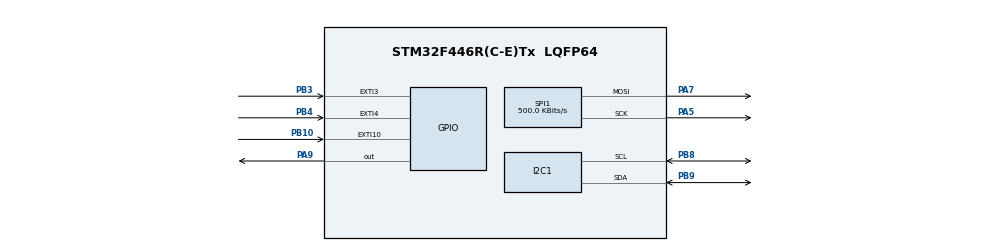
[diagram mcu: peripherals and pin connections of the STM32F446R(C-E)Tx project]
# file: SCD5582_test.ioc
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Mcu.Family=STM32F4
Mcu.Name=STM32F446R(C-E)Tx
Mcu.Package=LQFP64
NVIC.EXTI15_10_IRQn=true\:3\:0\:true\:false\:true\:true\:true\:true
NVIC.EXTI3_IRQn=true\:3\:0\:true\:false\:true\:true\:true\:true
NVIC.EXTI4_IRQn=true\:3\:0\:true\:false\:true\:true\:true\:true
NVIC.PriorityGroup=NVIC_PRIORITYGROUP_4
NVIC.TIM7_IRQn=true\:3\:0\:true\:false\:true\:true\:true\:true
PA5.Mode=TX_Only_Simplex_Unidirect_Master
PA5.Signal=SPI1_SCK
PA7.Mode=TX_Only_Simplex_Unidirect_Master
PA7.Signal=SPI1_MOSI
PA9.Signal=GPIO_Output
PB10.GPIO_ModeDefaultEXTI=GPIO_MODE_IT_FALLING
PB10.GPIO_PuPd=GPIO_PULLUP
PB10.Signal=GPXTI10
PB3.GPIO_ModeDefaultEXTI=GPIO_MODE_IT_FALLING
PB3.GPIO_PuPd=GPIO_PULLUP
PB3.Signal=GPXTI3
PB4.GPIO_ModeDefaultEXTI=GPIO_MODE_IT_FALLING
PB4.GPIO_PuPd=GPIO_PULLUP
PB4.Signal=GPXTI4
PB8.Mode=I2C
PB8.Signal=I2C1_SCL
PB9.Mode=I2C
PB9.Signal=I2C1_SDA
ProjectManager.HeapSize=0x200
ProjectManager.StackSize=0x400
ProjectManager.TargetToolchain=STM32CubeIDE
RCC.CortexFreq_Value=16000000
RCC.USBFreq_Value=96000000
RCC.VCOOutputFreq_Value=192000000
SPI1.BaudRatePrescaler=SPI_BAUDRATEPRESCALER_32
SPI1.CalculateBaudRate=500.0 KBits/s
SPI1.Direction=SPI_DIRECTION_2LINES
SPI1.FirstBit=SPI_FIRSTBIT_LSB
SPI1.Mode=SPI_MODE_MASTER
SPI1.VirtualType=VM_MASTER
TIM6.Period=19999
TIM6.Prescaler=15999
TIM7.Period=249
TIM7.Prescaler=15999
VP_TIM6_VS_ClockSourceINT.Mode=Enable_Timer
VP_TIM7_VS_ClockSourceINT.Mode=Enable_Timer
board=custom

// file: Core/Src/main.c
/* USER CODE BEGIN Header */
/**
  ******************************************************************************
  * @file           : main.c
  * @brief          : Main program body
  ******************************************************************************
  * @attention
  *
  * Copyright (c) 2023 STMicroelectronics.
  * All rights reserved.
  *
  * This software is licensed under terms that can be found in the LICENSE file
  * in the root directory of this software component.
  * If no LICENSE file comes with this software, it is provided AS-IS.
  *
  ******************************************************************************
  */
/* USER CODE END Header */
#include "main.h"
#include "i2c.h"
#include "spi.h"
#include "tim.h"
#include "gpio.h"

/* USER CODE BEGIN Includes */
#include "font5x5.h"

/* USER CODE END Includes */

void SystemClock_Config(void);

/* USER CODE BEGIN 0 */

#define DS1307_ADDRESS 0x68 << 1

extern uint8_t menuCounter;
extern uint8_t b1Counter;
extern uint8_t b2Counter;

void clearDisplay(){
	uint8_t clear = 0xC0;
	HAL_GPIO_WritePin(GPIOA, GPIO_PIN_9, GPIO_PIN_RESET);
	HAL_SPI_Transmit(&hspi1, (uint8_t*)&clear, 1, 1);
	HAL_GPIO_WritePin(GPIOA, GPIO_PIN_9, GPIO_PIN_SET);
}

void writeCharacter(uint8_t digit, char character){
	if(digit < 0 || digit >7){
		return;
	}
	uint8_t adress = 0b10100000 + digit;
	HAL_GPIO_WritePin(GPIOA, GPIO_PIN_9, GPIO_PIN_RESET);
	HAL_SPI_Transmit(&hspi1, (uint8_t*)&adress, 1, 1);
	HAL_GPIO_WritePin(GPIOA, GPIO_PIN_9, GPIO_PIN_SET);

	for(int row = 0; row <5; row++){
		HAL_GPIO_WritePin(GPIOA, GPIO_PIN_9, GPIO_PIN_RESET);
		HAL_SPI_Transmit(&hspi1, (uint8_t*)&font[character - 0x20][row], 1, 1);
		HAL_GPIO_WritePin(GPIOA, GPIO_PIN_9, GPIO_PIN_SET);
	}
}

typedef struct{
	uint8_t seconds;
	uint8_t minutes;
	uint8_t hour;
	uint8_t dayofweek;
	uint8_t dayofmonth;
	uint8_t month;
	uint8_t year;
}TIME;

TIME time;

uint8_t decToBcd(int val){
	return (uint8_t)( (val/10*16) + (val%10) );
}

int bcdToDec(uint8_t val){
	return (int)( (val/16*10) + (val%16) );
}

void Set_Time (uint8_t sec, uint8_t min, uint8_t hour, uint8_t dow, uint8_t dom, uint8_t month, uint8_t year){
	uint8_t set_time[7];
	set_time[0] = decToBcd(sec);
	set_time[1] = decToBcd(min);
	set_time[2] = decToBcd(hour);
	set_time[3] = decToBcd(dow);
	set_time[4] = decToBcd(dom);
	set_time[5] = decToBcd(month);
	set_time[6] = decToBcd(year);

	HAL_I2C_Mem_Write(&hi2c1, DS1307_ADDRESS, 0x00, 1, set_time, 7, 1);
}

void Get_Time (void)
{
	uint8_t get_time[7];
	HAL_I2C_Mem_Read(&hi2c1, DS1307_ADDRESS, 0x00, 1, get_time, 7, 1);
	time.seconds = bcdToDec(get_time[0]);
	time.minutes = bcdToDec(get_time[1]);
	time.hour = bcdToDec(get_time[2]);
	time.dayofweek = bcdToDec(get_time[3]);
	time.dayofmonth = bcdToDec(get_time[4]);
	time.month = bcdToDec(get_time[5]);
	time.year = bcdToDec(get_time[6]);
}

void writeTime(uint16_t millisNow){
	uint8_t seconds1, seconds2, minutes1, minutes2, hours1, hours2;
	seconds1 = (time.seconds/10) + '0';
	seconds2 = (time.seconds%10) + '0';
	minutes1 = (time.minutes/10) + '0';
	minutes2 = (time.minutes%10) + '0';
	hours1 = (time.hour/10) + '0';
	hours2 = (time.hour%10) + '0';

	writeCharacter(0,hours1);
	writeCharacter(1,hours2);
	if((millisNow / 500) % 2 == 0){
		writeCharacter(2,':');
	}
	else{
		writeCharacter(2,' ');
	}
	writeCharacter(3,minutes1);
	HAL_Delay(10);
	clearDisplay();
	writeCharacter(4,minutes2);
	if((millisNow / 500) % 2 == 0){
		writeCharacter(5,':');
	}
	else{
		writeCharacter(5,' ');
	}
	writeCharacter(6,seconds1);
	writeCharacter(7,seconds2);
	HAL_Delay(10);
	clearDisplay();
}

void writeDate(){
	uint8_t day1, day2, month1, month2, year1, year2;
	day1 = (time.dayofmonth/10) + '0';
	day2 = (time.dayofmonth%10) + '0';
	month1 = (time.month/10) + '0';
	month2 = (time.month%10) + '0';
	year1 = (time.year/10) + '0';
	year2 = (time.year%10) + '0';

	writeCharacter(0,day1);
	writeCharacter(1,day2);
	writeCharacter(2,'.');
	writeCharacter(3,month1);
	HAL_Delay(10);
	clearDisplay();
	writeCharacter(4,month2);
	writeCharacter(5,'.');
	writeCharacter(6,year1);
	writeCharacter(7,year2);
	HAL_Delay(10);
	clearDisplay();
}

/* USER CODE END 0 */

int main(void)
{

  /* MCU Configuration--------------------------------------------------------*/

  /* Reset of all peripherals, Initializes the Flash interface and the Systick. */
  HAL_Init();

  /* Configure the system clock */
  SystemClock_Config();

  /* Initialize all configured peripherals */
  MX_GPIO_Init();
  MX_I2C1_Init();
  MX_SPI1_Init();
  MX_TIM6_Init();
  MX_TIM7_Init();
  /* USER CODE BEGIN 2 */
  HAL_TIM_Base_Start(&htim6);

  /* USER CODE END 2 */

  /* Infinite loop */
  /* USER CODE BEGIN WHILE */
uint8_t brightness = 0xF2;
uint16_t currentTime;

HAL_GPIO_WritePin(GPIOA, GPIO_PIN_9, GPIO_PIN_RESET);
HAL_SPI_Transmit(&hspi1, (uint8_t*)&brightness, 1, 1);
HAL_GPIO_WritePin(GPIOA, GPIO_PIN_9, GPIO_PIN_SET);

  while (1)
  {
	 Get_Time();

	 currentTime = __HAL_TIM_GET_COUNTER(&htim6);

	 if(currentTime <= 17000){
		  clearDisplay();
		  writeTime(currentTime);
	 }

	 if(currentTime > 17000 && currentTime <= 19999){
		  clearDisplay();
		  writeDate();
	 }

	 // Postavljanje sati:
	 while(menuCounter == 1){
		 uint8_t hours1, hours2;
		 time.hour = time.hour + b1Counter - b2Counter;
		 if(time.hour > 23){
			 time.hour = 0;
		 }
		 if(time.hour < 0){
			 time.hour = 23;
		 }
		 hours1 = (time.hour / 10) + '0';
		 hours2 = (time.hour % 10) + '0';
		 clearDisplay();
		 writeCharacter(0,hours1);
		 writeCharacter(1,hours2);
		 b1Counter = 0;
		 b2Counter = 0;
		 HAL_Delay(1);
	 }
	 // Postavljanje minuta:
	 while(menuCounter == 2){
		 uint8_t minutes1, minutes2;
		 time.minutes = time.minutes + b1Counter - b2Counter;
		 if(time.minutes > 59){
			 time.minutes = 0;
		 }
		 if(time.minutes < 0){
			 time.minutes = 59;
		 }
		 minutes1 = (time.minutes / 10) + '0';
		 minutes2 = (time.minutes % 10) + '0';
		 clearDisplay();
		 writeCharacter(3,minutes1);
		 writeCharacter(4,minutes2);
		 b1Counter = 0;
		 b2Counter = 0;
		 HAL_Delay(1);
	 }
	 // Postavljanje sekundi:
	 while(menuCounter == 3){
		 uint8_t seconds1, seconds2;
		 time.seconds = time.seconds + b1Counter - b2Counter;
		 if(time.seconds > 59){
			 time.seconds = 0;
		 }
		 if(time.seconds < 0){
			 time.seconds = 59;
		 }
		 seconds1 = (time.seconds / 10) + '0';
		 seconds2 = (time.seconds % 10) + '0';
		 clearDisplay();
		 writeCharacter(6,seconds1);
		 writeCharacter(7,seconds2);
		 b1Counter = 0;
		 b2Counter = 0;
		 HAL_Delay(1);
	 }
	 // Postavljanje dana u mjesecu:
	 while(menuCounter == 4){
		 uint8_t days1, days2;
		 time.dayofmonth = time.dayofmonth + b1Counter - b2Counter;
		 if(time.dayofmonth > 31){
			 time.dayofmonth = 1;
		 }
		 if(time.dayofmonth < 1){
			 time.dayofmonth = 31;
		 }
		 days1 = (time.dayofmonth / 10) + '0';
		 days2 = (time.dayofmonth % 10) + '0';
		 clearDisplay();
		 writeCharacter(0,days1);
		 writeCharacter(1,days2);
		 b1Counter = 0;
		 b2Counter = 0;
		 HAL_Delay(1);
	 }
	 // Postavljanje mjeseca:
	 while(menuCounter == 5){
		 uint8_t month1, month2;
		 time.month = time.month + b1Counter - b2Counter;
		 if(time.month > 12){
			 time.month = 1;
		 }
		 if(time.month < 1){
			 time.month = 12;
		 }
		 month1 = (time.month / 10) + '0';
		 month2 = (time.month % 10) + '0';
		 clearDisplay();
		 writeCharacter(3,month1);
		 writeCharacter(4,month2);
		 b1Counter = 0;
		 b2Counter = 0;
		 HAL_Delay(1);
	 }
	// Postavljanje godine:
	 while(menuCounter == 6){
		 uint8_t year1, year2;
		 time.year = time.year + b1Counter - b2Counter;
		 if(time.year < 23){
			 time.year = 23;
		 }
		 year1 = (time.year / 10) + '0';
		 year2 = (time.year % 10) + '0';
		 clearDisplay();
		 writeCharacter(6,year1);
		 writeCharacter(7,year2);
		 b1Counter = 0;
		 b2Counter = 0;
		 HAL_Delay(1);
	 }

	 if(menuCounter >= 7){
		 Set_Time(time.seconds,time.minutes,time.hour,time.dayofweek,time.dayofmonth,time.month,time.year);
		 menuCounter = 0;
	 }

    /* USER CODE END WHILE */

  }
}

void SystemClock_Config(void)
{
  RCC_OscInitTypeDef RCC_OscInitStruct = {0};
  RCC_ClkInitTypeDef RCC_ClkInitStruct = {0};

  /** Configure the main internal regulator output voltage
  */
  __HAL_RCC_PWR_CLK_ENABLE();
  __HAL_PWR_VOLTAGESCALING_CONFIG(PWR_REGULATOR_VOLTAGE_SCALE3);

  /** Initializes the RCC Oscillators according to the specified parameters
  * in the RCC_OscInitTypeDef structure.
  */
  RCC_OscInitStruct.OscillatorType = RCC_OSCILLATORTYPE_HSI;
  RCC_OscInitStruct.HSIState = RCC_HSI_ON;
  RCC_OscInitStruct.HSICalibrationValue = RCC_HSICALIBRATION_DEFAULT;
  RCC_OscInitStruct.PLL.PLLState = RCC_PLL_NONE;
  if (HAL_RCC_OscConfig(&RCC_OscInitStruct) != HAL_OK)
  {
    Error_Handler();
  }

  /** Initializes the CPU, AHB and APB buses clocks
  */
  RCC_ClkInitStruct.ClockType = RCC_CLOCKTYPE_HCLK|RCC_CLOCKTYPE_SYSCLK
                              |RCC_CLOCKTYPE_PCLK1|RCC_CLOCKTYPE_PCLK2;
  RCC_ClkInitStruct.SYSCLKSource = RCC_SYSCLKSOURCE_HSI;
  RCC_ClkInitStruct.AHBCLKDivider = RCC_SYSCLK_DIV1;
  RCC_ClkInitStruct.APB1CLKDivider = RCC_HCLK_DIV1;
  RCC_ClkInitStruct.APB2CLKDivider = RCC_HCLK_DIV1;

  if (HAL_RCC_ClockConfig(&RCC_ClkInitStruct, FLASH_LATENCY_0) != HAL_OK)
  {
    Error_Handler();
  }
}

void Error_Handler(void)
{
  __disable_irq();
  while (1)
  {
  }
}
